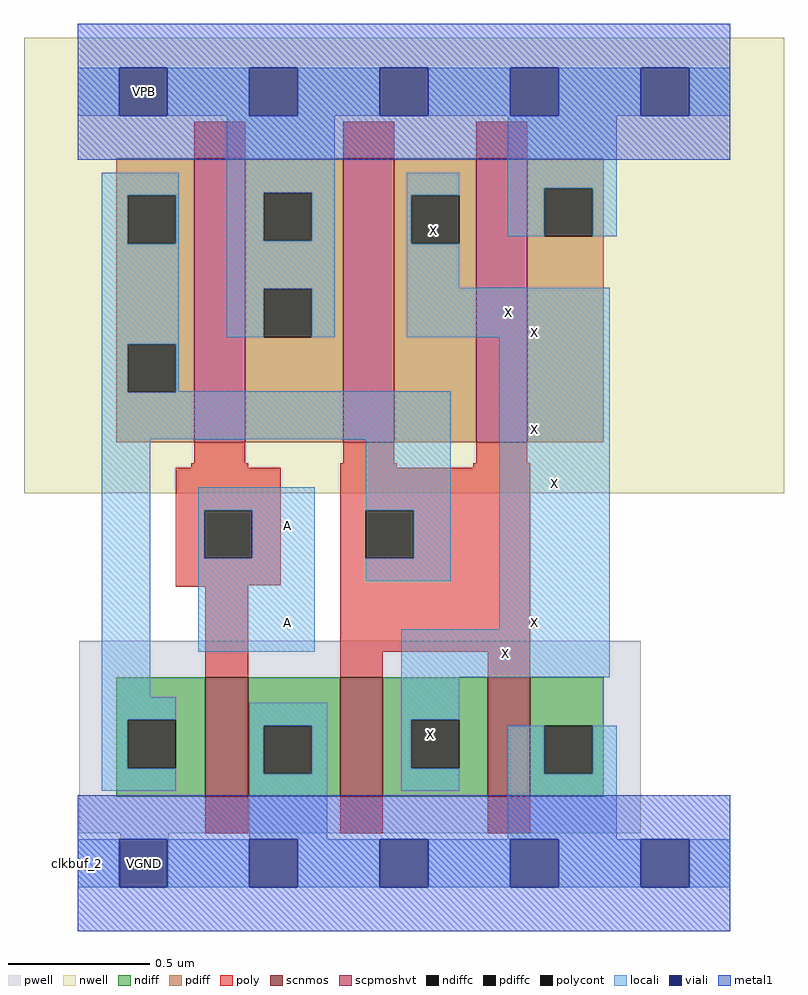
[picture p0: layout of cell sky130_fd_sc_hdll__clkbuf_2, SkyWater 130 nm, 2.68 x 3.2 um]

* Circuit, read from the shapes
.subckt sky130_fd_sc_hdll__clkbuf_2 A VGND VNB VPB VPWR X
XM1 VGND A n1 VNB sky130_fd_pr__nfet_01v8 w=0.42 l=0.15
XM2 X n1 VGND VNB sky130_fd_pr__nfet_01v8 w=0.42 l=0.15 m=2
XM3 VPWR A n1 VPB sky130_fd_pr__pfet_01v8_hvt w=1 l=0.18
XM4 X n1 VPWR VPB sky130_fd_pr__pfet_01v8_hvt w=1 l=0.18 m=2
.ends

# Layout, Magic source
magic
tech sky130A
magscale 1 2
<< nwell >>
rect -38 261 498 582
<< pwell >>
rect 1 21 397 157
rect 30 -17 64 21
<< scnmos >>
rect 90 47 120 131
rect 185 47 215 131
rect 289 47 319 131
<< scpmoshvt >>
rect 82 297 118 497
rect 187 297 223 497
rect 281 297 317 497
<< ndiff >>
rect 27 101 90 131
rect 27 67 35 101
rect 69 67 90 101
rect 27 47 90 67
rect 120 97 185 131
rect 120 63 131 97
rect 165 63 185 97
rect 120 47 185 63
rect 215 101 289 131
rect 215 67 235 101
rect 269 67 289 101
rect 215 47 289 67
rect 319 97 371 131
rect 319 63 329 97
rect 363 63 371 97
rect 319 47 371 63
<< pdiff >>
rect 27 471 82 497
rect 27 437 35 471
rect 69 437 82 471
rect 27 366 82 437
rect 27 332 35 366
rect 69 332 82 366
rect 27 297 82 332
rect 118 473 187 497
rect 118 439 131 473
rect 165 439 187 473
rect 118 405 187 439
rect 118 371 131 405
rect 165 371 187 405
rect 118 297 187 371
rect 223 471 281 497
rect 223 437 235 471
rect 269 437 281 471
rect 223 297 281 437
rect 317 476 371 497
rect 317 442 329 476
rect 363 442 371 476
rect 317 297 371 442
<< ndiffc >>
rect 35 67 69 101
rect 131 63 165 97
rect 235 67 269 101
rect 329 63 363 97
<< pdiffc >>
rect 35 437 69 471
rect 35 332 69 366
rect 131 439 165 473
rect 131 371 165 405
rect 235 437 269 471
rect 329 442 363 476
<< poly >>
rect 82 497 118 523
rect 187 497 223 523
rect 281 497 317 523
rect 82 282 118 297
rect 187 282 223 297
rect 281 282 317 297
rect 80 279 120 282
rect 185 279 225 282
rect 279 279 319 282
rect 69 249 143 279
rect 69 215 89 249
rect 123 215 143 249
rect 69 196 143 215
rect 185 249 319 279
rect 185 215 203 249
rect 237 215 319 249
rect 69 195 120 196
rect 90 131 120 195
rect 185 149 319 215
rect 185 131 215 149
rect 289 131 319 149
rect 90 21 120 47
rect 185 21 215 47
rect 289 21 319 47
<< polycont >>
rect 89 215 123 249
rect 203 215 237 249
<< locali >>
rect 0 527 29 561
rect 63 527 121 561
rect 155 527 213 561
rect 247 527 305 561
rect 339 527 397 561
rect 431 527 460 561
rect 17 471 71 487
rect 17 437 35 471
rect 69 437 71 471
rect 17 366 71 437
rect 105 473 181 527
rect 105 439 131 473
rect 165 439 181 473
rect 105 405 181 439
rect 105 371 131 405
rect 165 371 181 405
rect 232 471 269 487
rect 232 437 235 471
rect 303 476 380 527
rect 303 442 329 476
rect 363 442 380 476
rect 232 406 269 437
rect 232 371 375 406
rect 17 332 35 366
rect 69 333 71 366
rect 69 332 263 333
rect 17 299 263 332
rect 17 117 51 299
rect 85 249 167 265
rect 85 215 89 249
rect 123 215 167 249
rect 85 149 167 215
rect 203 249 263 299
rect 237 215 263 249
rect 203 199 263 215
rect 297 165 375 371
rect 228 131 375 165
rect 17 101 69 117
rect 17 67 35 101
rect 17 51 69 67
rect 121 97 176 113
rect 121 63 131 97
rect 165 63 176 97
rect 121 17 176 63
rect 228 101 269 131
rect 228 67 235 101
rect 228 51 269 67
rect 303 63 329 97
rect 363 63 380 97
rect 303 17 380 63
rect 0 -17 29 17
rect 63 -17 121 17
rect 155 -17 213 17
rect 247 -17 305 17
rect 339 -17 397 17
rect 431 -17 460 17
<< viali >>
rect 29 527 63 561
rect 121 527 155 561
rect 213 527 247 561
rect 305 527 339 561
rect 397 527 431 561
rect 29 -17 63 17
rect 121 -17 155 17
rect 213 -17 247 17
rect 305 -17 339 17
rect 397 -17 431 17
<< metal1 >>
rect 0 561 460 592
rect 0 527 29 561
rect 63 527 121 561
rect 155 527 213 561
rect 247 527 305 561
rect 339 527 397 561
rect 431 527 460 561
rect 0 496 460 527
rect 0 17 460 48
rect 0 -17 29 17
rect 63 -17 121 17
rect 155 -17 213 17
rect 247 -17 305 17
rect 339 -17 397 17
rect 431 -17 460 17
rect 0 -48 460 -17
<< labels >>
flabel nwell s 30 527 64 561 0 FreeSans 200 0 0 0 VPB
port 4 nsew power bidirectional
flabel metal1 s 30 -17 64 17 0 FreeSans 200 0 0 0 VGND
port 2 nsew ground bidirectional
flabel metal1 s 30 527 64 561 0 FreeSans 200 0 0 0 VPWR
port 5 nsew power bidirectional
flabel pwell s 30 -17 64 17 0 FreeSans 200 0 0 0 VNB
port 3 nsew ground bidirectional
flabel locali s 131 153 165 187 0 FreeSans 200 0 0 0 A
port 1 nsew signal input
flabel locali s 131 221 165 255 0 FreeSans 200 0 0 0 A
port 1 nsew signal input
flabel locali s 297 165 375 371 0 FreeSans 200 0 0 0 X
port 6 nsew signal output
flabel locali s 322 170 322 170 0 FreeSans 200 0 0 0 X
port 6 nsew
flabel locali s 322 306 322 306 0 FreeSans 200 0 0 0 X
port 6 nsew
flabel locali s 322 374 322 374 0 FreeSans 200 0 0 0 X
port 6 nsew
rlabel comment s 0 0 0 0 4 clkbuf_2
rlabel locali s 232 406 269 487 1 X
port 6 nsew signal output
rlabel locali s 232 371 375 406 1 X
port 6 nsew signal output
rlabel locali s 228 131 375 165 1 X
port 6 nsew signal output
rlabel locali s 228 51 269 131 1 X
port 6 nsew signal output
<< properties >>
string LEFsite unithd
string LEFclass CORE
string FIXED_BBOX 0 0 460 544
string GDS_FILE $PDKPATH/libs.ref/sky130_fd_sc_hdll/gds/sky130_fd_sc_hdll.gds
string LEFsymmetry X Y R90
string GDS_END 1230926
string GDS_START 1226412
string LEFproperties maskLayoutSubType "abstract" prCellType "standard" originalViewName "layout"
<< end >>
